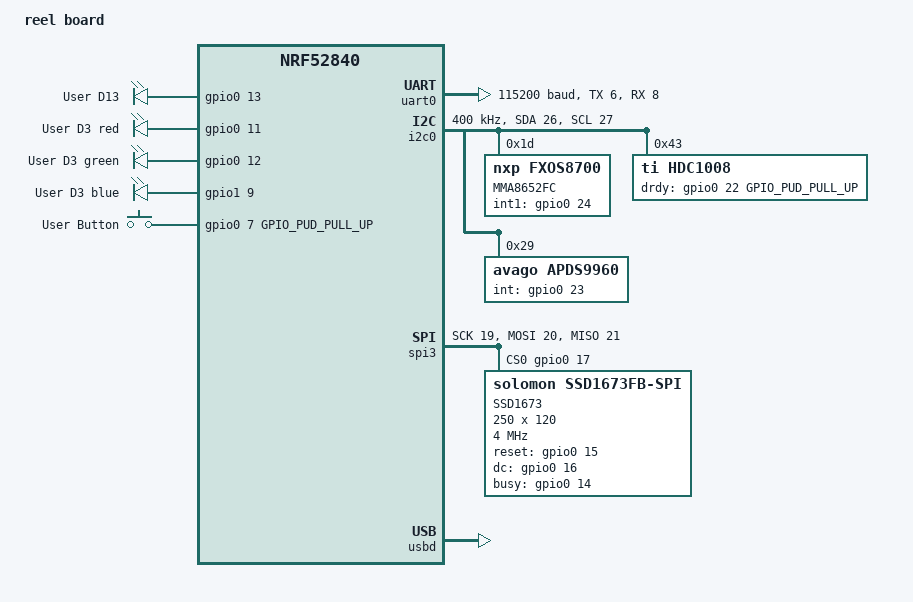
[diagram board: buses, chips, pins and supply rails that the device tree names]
/*
 * Copyright (c) 2018 Phytec Messtechnik GmbH
 * Copyright (c) 2017 Linaro Limited
 *
 * SPDX-License-Identifier: Apache-2.0
 */

/dts-v1/;
#include <nordic/nrf52840_qiaa.dtsi>

/ {
	model = "reel board";
	compatible = "phytec,reel_board", "nordic,nrf52840-qiaa",
		     "nordic,nrf52840";

	chosen {
		zephyr,console = &uart0;
		zephyr,uart-mcumgr = &uart0;
		zephyr,sram = &sram0;
		zephyr,flash = &flash0;
	};

	leds {
		compatible = "gpio-leds";
		yellow_led: led_0 {
			gpios = <&gpio0 13 0>;
			label = "User D13";
		};
		red_led: led_1 {
			gpios = <&gpio0 11 0>;
			label = "User D3 red";
		};
		green_led: led_2 {
			gpios = <&gpio0 12 0>;
			label = "User D3 green";
		};
		blue_led: led_3 {
			gpios = <&gpio1 9 0>;
			label = "User D3 blue";
		};
	};

	gpio_keys {
		compatible = "gpio-keys";
		user_button: button_0 {
			gpios = <&gpio0 7 GPIO_PUD_PULL_UP>;
			label = "User Button";
		};
		// button_u1: button_1 {
		// 	gpios = <&gpio0 3 GPIO_PUD_PULL_UP>;
		// 	label = "User Button 1";
		// };
		// button_u2: button_2 {
		// 	gpios = <&gpio0 5 GPIO_PUD_PULL_UP>;
		// 	label = "User Button 2";
		// };
		// button_u3: button_3 {
		// 	gpios = <&gpio1 15 GPIO_PUD_PULL_UP>;
		// 	label = "User Button 3";
		// };
		// button_u4: button_4 {
		// 	gpios = <&gpio0 30 GPIO_PUD_PULL_UP>;
		// 	label = "User Button 4";
		// };
		// button_u5: button_5 {
		// 	gpios = <&gpio1 13 GPIO_PUD_PULL_UP>;
		// 	label = "User Button 5";
		// };
		// button_u6: button_6 {
		// 	gpios = <&gpio1 14 GPIO_PUD_PULL_UP>;
		// 	label = "User Button 6";
		// };
		// button_u7: button_7 {
		// 	gpios = <&gpio0 10 GPIO_PUD_PULL_UP>;
		// 	label = "User Button 7";
		// };
		// button_u8: button_8 {
		// 	gpios = <&gpio1 1 GPIO_PUD_PULL_UP>;
		// 	label = "User Button 8";
		// };
		// button_u9: button_9 {
		// 	gpios = <&gpio0 2 GPIO_PUD_PULL_UP>;
		// 	label = "User Button 9";
		// };
		// button_uOK: button_OK {
		// 	gpios = <&gpio0 9 GPIO_PUD_PULL_UP>;
		// 	label = "User Button OK";
		// };
		// button_uX: button_X {
		// 	gpios = <&gpio0 29 GPIO_PUD_PULL_UP>;
		// 	label = "User Button X";
		// };
	};

	aliases {
		led0 = &yellow_led;
		led1 = &red_led;
		led2 = &green_led;
		led3 = &blue_led;
		sw0 = &user_button;
		// sw1 = &button_u1;
		// sw2 = &button_u2;
		// sw3 = &button_u3;
		// sw4 = &button_u4;
		// sw5 = &button_u5;
		// sw6 = &button_u6;
		// sw7 = &button_u7;
		// sw8 = &button_u8;
		// sw9 = &button_u9;
		// swOK = &button_uOK;
		// swX = &button_uX;
	};
};

&gpiote {
	status ="ok";
};

&gpio0 {
	status ="ok";
};

&gpio1 {
	status ="ok";
};

&uart0 {
	compatible = "nordic,nrf-uart";
	current-speed = <115200>;
	status = "ok";
	tx-pin = <6>;
	rx-pin = <8>;
	rts-pin = <5>;
	cts-pin = <7>;
};

&i2c0 {
	status = "ok";
	clock-frequency = <I2C_BITRATE_FAST>;
	sda-pin = <26>;
	scl-pin = <27>;

	mma8652fc@1d {
		compatible = "nxp,fxos8700","nxp,mma8652fc";
		reg = <0x1d>;
		label = "MMA8652FC";
		int1-gpios = <&gpio0 24 0>;
	};

	hdc1008@43 {
		compatible = "ti,hdc1008";
		reg = <0x43>;
		label = "HDC1008";
		drdy-gpios = <&gpio0 22 GPIO_PUD_PULL_UP>;
	};

	apds9960@29 {
		compatible = "avago,apds9960";
		reg = <0x29>;
		label = "APDS9960";
		int-gpios = <&gpio0 23 0>;
	};
};

&spi3 {
	status = "ok";
	sck-pin = <19>;
	mosi-pin = <20>;
	miso-pin = <21>;
	cs-gpios = <&gpio0 17 0>;

	ssd1673fb@0 {
		compatible = "solomon,ssd1673fb-spi";
		label = "SSD1673";
		spi-max-frequency = <4000000>;
		reg = <0>;
		width = <250>;
		height = <120>;
		reset-gpios = <&gpio0 15 0>;
		dc-gpios = <&gpio0 16 0>;
		busy-gpios = <&gpio0 14 0>;
	};
};

&flash0 {
	/*
	 * For more information, see:
	 * http://docs.zephyrproject.org/latest/devices/dts/flash_partitions.html
	 */
	partitions {
		compatible = "fixed-partitions";
		#address-cells = <1>;
		#size-cells = <1>;

		boot_partition: partition@0 {
			label = "mcuboot";
			reg = <0x000000000 0x0000C000>;
		};
		slot0_partition: partition@c000 {
			label = "image-0";
			reg = <0x0000C000 0x000069000>;
		};
		slot1_partition: partition@75000 {
			label = "image-1";
			reg = <0x00075000 0x000069000>;
		};
		scratch_partition: partition@de000 {
			label = "image-scratch";
			reg = <0x000de000 0x0001e000>;
		};

		storage_partition: partition@fc000 {
			label = "storage";
			reg = <0x000fc000 0x00004000>;
		};
	};
};

&usbd {
	compatible = "nordic,nrf-usbd";
	status = "ok";
};
